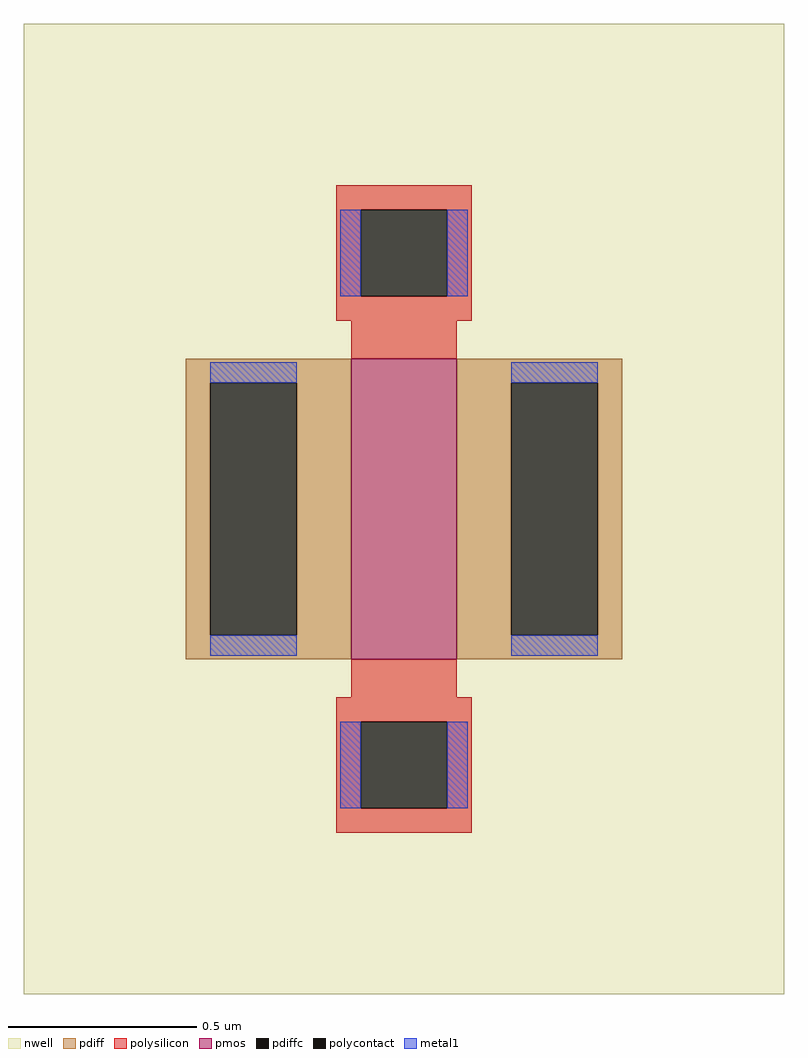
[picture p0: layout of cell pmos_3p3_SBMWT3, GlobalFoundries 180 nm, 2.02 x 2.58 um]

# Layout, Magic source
magic
tech gf180mcuC
magscale 1 10
<< nwell >>
rect -202 -258 202 258
<< pmos >>
rect -28 -80 28 80
<< pdiff >>
rect -116 67 -28 80
rect -116 -67 -103 67
rect -57 -67 -28 67
rect -116 -80 -28 -67
rect 28 67 116 80
rect 28 -67 57 67
rect 103 -67 116 67
rect 28 -80 116 -67
<< pdiffc >>
rect -103 -67 -57 67
rect 57 -67 103 67
<< polysilicon >>
rect -36 159 36 172
rect -36 113 -23 159
rect 23 113 36 159
rect -36 100 36 113
rect -28 80 28 100
rect -28 -100 28 -80
rect -36 -113 36 -100
rect -36 -159 -23 -113
rect 23 -159 36 -113
rect -36 -172 36 -159
<< polycontact >>
rect -23 113 23 159
rect -23 -159 23 -113
<< metal1 >>
rect -34 113 -23 159
rect 23 113 34 159
rect -103 67 -57 78
rect -103 -78 -57 -67
rect 57 67 103 78
rect 57 -78 103 -67
rect -34 -159 -23 -113
rect 23 -159 34 -113
<< properties >>
string gencell pmos_3p3
string library gf180mcu
string parameters w 0.80 l 0.280 m 1 nf 1 diffcov 100 polycov 100 guard 0 glc 0 grc 1 gtc 0 gbc 0 tbcov 100 rlcov 100 topc 1 botc 1 poverlap 0 doverlap 1 lmin 0.28 wmin 0.22 full_metal 0 compatible {pmos_3p3 pmos_6p0}
<< end >>
